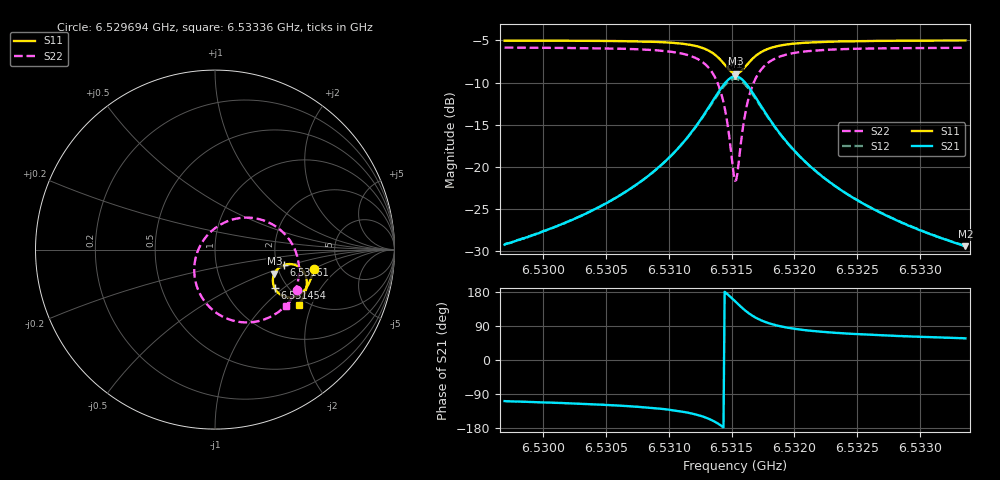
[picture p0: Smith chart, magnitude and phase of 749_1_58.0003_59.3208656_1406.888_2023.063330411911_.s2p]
#  HZ  S  RI  R  50.00
! Rohde & Schwarz Vector Network Analyzer
! Rohde-Schwarz,ZNB20-2Port,1311601062101988,3.16
! Created: UTC 3/21/2024, 1:23:54 AM
! freq[Hz]  re:S11  im:S11  re:S21  im:S21  re:S12  im:S12  re:S22  im:S22
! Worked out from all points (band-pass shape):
!   401 points, 6.529694 GHz to 6.53336 GHz, reference 50 ohm
!   highest |S21| = -9.27 dB at 6.531527 GHz (marker M1); lowest = -29.4 dB at 6.53336 GHz (marker M2)
!   |S21| within 3 dB of the highest: 6.531346 GHz to 6.531713 GHz (366.3 kHz wide, 0.00561 % of centre)
!   lowest |S11| = -8.9 dB at 6.531536 GHz (marker M3), VSWR 2.11, Z = 93.7 - j28.8 ohm
!   |S11| at or under -10 dB: nowhere
!   |S22| runs from -21.6 to -5.9 dB; largest |S21 - S12| = 0.014
!   S11 on the Smith chart (normalised r, x): 6.529694 GHz: 3.21, -0.99; 6.531454 GHz: 1.71, -0.88; 6.53161 GHz: 2.19, -0.44; 6.53336 GHz: 1.81, -1.64
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6.529694e9  0.55 -0.1059  -0.011 -0.0329  -0.0118 -0.0327  0.4566 -0.2249
6.5303082e9  0.5361 -0.1577  -0.0223 -0.0463  -0.0236 -0.046  0.4196 -0.2829
6.5306381e9  0.523 -0.1894  -0.036 -0.0599  -0.0377 -0.0588  0.3837 -0.3223
6.5309223e9  0.5028 -0.2215  -0.0618 -0.0785  -0.0642 -0.0765  0.3256 -0.3657
6.5311423e9  0.4704 -0.2508  -0.1101 -0.0981  -0.1132 -0.0939  0.229 -0.4012
6.5312981e9  0.4194 -0.2661  -0.1894 -0.0989  -0.1912 -0.0907  0.086 -0.3915
6.5313898e9  0.3689 -0.2533  -0.2668 -0.06  -0.2637 -0.0486  -0.0396 -0.3106
6.5314264e9  0.347 -0.2356  -0.2987 -0.0235  -0.2923 -0.012  -0.0858 -0.2429
6.5314539e9  0.333 -0.2159  -0.3175 0.0145  -0.3082 0.0249  -0.109 -0.1761
6.5315089e9  0.3231 -0.1623  -0.3231 0.111  -0.3099 0.1158  -0.0995 -0.0172
6.5315273e9  0.3273 -0.1433  -0.3122 0.1442  -0.2988 0.1465  -0.0754 0.0345
6.5315364e9  0.331 -0.1342  -0.3042 0.1596  -0.2909 0.161  -0.0598 0.0584
6.5315548e9  0.3408 -0.1174  -0.284 0.1881  -0.2716 0.1871  -0.0219 0.1009
6.5316098e9  0.3844 -0.0855  -0.204 0.2403  -0.1959 0.2357  0.1185 0.1724
6.5316372e9  0.4075 -0.0806  -0.1629 0.2479  -0.1572 0.2431  0.1878 0.178
6.5316739e9  0.4351 -0.0825  -0.1155 0.2446  -0.1116 0.2401  0.2669 0.1639
6.5317656e9  0.4801 -0.1065  -0.0389 0.2075  -0.0374 0.2051  0.39 0.085
6.5319031e9  0.5058 -0.1466  0.00544 0.1515  0.00665 0.1505  0.4549 -0.0262
6.5321414e9  0.5115 -0.1941  0.0224 0.0958  0.0238 0.0956  0.4676 -0.139
6.5324072e9  0.5053 -0.2291  0.0239 0.0658  0.025 0.0656  0.4549 -0.2057
6.5327555e9  0.493 -0.2629  0.022 0.0457  0.0228 0.0453  0.4337 -0.2584
6.5333605e9  0.4683 -0.3097  0.0185 0.0285  0.0189 0.0282  0.398 -0.3158
